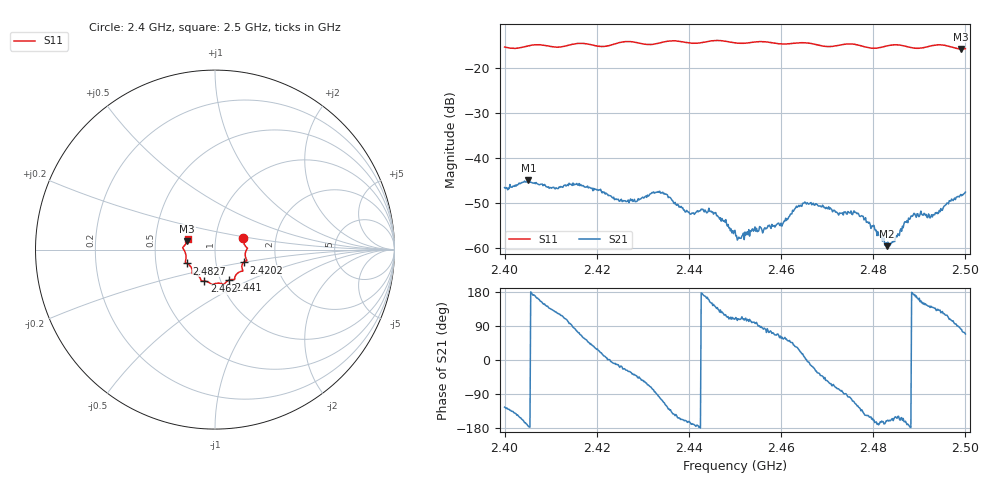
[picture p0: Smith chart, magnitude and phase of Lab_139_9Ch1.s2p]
# Hz S RI R 50
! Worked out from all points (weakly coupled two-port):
!   601 points, 2.4 GHz to 2.5 GHz, reference 50 ohm
!   highest |S21| = -44.87 dB at 2.4052 GHz (marker M1); lowest = -59.6 dB at 2.483 GHz (marker M2)
!   lowest |S11| = -15.8 dB at 2.499 GHz (marker M3), VSWR 1.39, Z = 36.4 + j3.43 ohm
!   |S11| at or under -10 dB: start of sweep to end of sweep
!   S12 and S22 are empty: the file has one direction only
!   S11 on the Smith chart (normalised r, x): 2.4 GHz: 1.36, +0.18; 2.4202 GHz: 1.36, -0.20; 2.441 GHz: 1.10, -0.39; 2.462 GHz: 0.84, -0.30; 2.4827 GHz: 0.72, -0.12; 2.5 GHz: 0.73, +0.09
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2.4e9  0.1588 0.0629  -0.00265 -0.00388  0 0  0 0
2.405167e9  0.1754 0.0133  -0.00569 -0.000485  0 0  0 0
2.411167e9  0.1691 -0.0181  -0.0028 0.00376  0 0  0 0
2.416667e9  0.1773 -0.0607  0.00211 0.0045  0 0  0 0
2.420167e9  0.159 -0.0715  0.00388 0.00215  0 0  0 0
2.426e9  0.1558 -0.1177  0.00309 -0.0013  0 0  0 0
2.433333e9  0.1117 -0.1506  -0.00035 -0.00423  0 0  0 0
2.441e9  0.0788 -0.1698  -0.00242 -0.000451  0 0  0 0
2.445333e9  0.0512 -0.194  -0.002 0.0013  0 0  0 0
2.45e9  0.0285 -0.1873  -0.000487 0.0015  0 0  0 0
2.451e9  0.0185 -0.1864  -0.000376 0.00123  0 0  0 0
2.46e9  -0.0405 -0.1799  0.00101 0.0016  0 0  0 0
2.462e9  -0.0602 -0.1755  0.0016 0.00175  0 0  0 0
2.466667e9  -0.079 -0.1683  0.0029 -0.000859  0 0  0 0
2.476333e9  -0.1273 -0.129  -0.00113 -0.00218  0 0  0 0
2.482667e9  -0.1559 -0.0772  -0.00103 -0.00028  0 0  0 0
2.483e9  -0.1582 -0.0759  -0.000991 -0.000353  0 0  0 0
2.483333e9  -0.1603 -0.0752  -0.00104 -0.00036  0 0  0 0
2.4885e9  -0.1613 -0.044  -0.00225 0.00013  0 0  0 0
2.492833e9  -0.1768 0.00407  -0.00168 0.00145  0 0  0 0
2.499e9  -0.1553 0.0459  0.00057 0.0039  0 0  0 0
2.5e9  -0.152 0.0601  0.00152 0.0039  0 0  0 0
